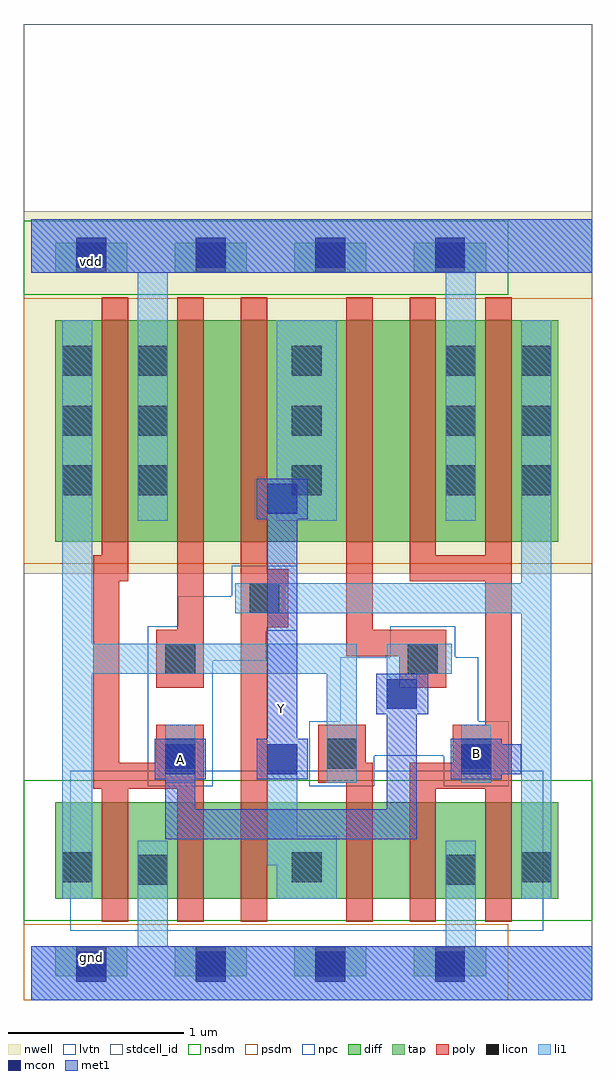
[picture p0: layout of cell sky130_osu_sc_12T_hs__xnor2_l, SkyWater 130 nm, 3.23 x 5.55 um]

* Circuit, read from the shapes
.subckt sky130_osu_sc_12T_hs__xnor2_l A B Y gnd vdd
XM1 gnd A n1 gnd sky130_fd_pr__nfet_01v8_lvt w=0.55 l=0.15
XM2 n2 A gnd gnd sky130_fd_pr__nfet_01v8_lvt w=0.55 l=0.15
XM3 Y n3 n2 gnd sky130_fd_pr__nfet_01v8_lvt w=0.55 l=0.15
XM4 n4 n1 Y gnd sky130_fd_pr__nfet_01v8_lvt w=0.55 l=0.15
XM5 gnd B n4 gnd sky130_fd_pr__nfet_01v8_lvt w=0.55 l=0.15
XM6 n3 B gnd gnd sky130_fd_pr__nfet_01v8_lvt w=0.55 l=0.15
XM7 vdd A n1 vdd sky130_fd_pr__pfet_01v8 w=1.26 l=0.15
XM8 n5 n1 vdd vdd sky130_fd_pr__pfet_01v8 w=1.26 l=0.15
XM9 Y n3 n5 vdd sky130_fd_pr__pfet_01v8 w=1.26 l=0.15
XM10 n6 A Y vdd sky130_fd_pr__pfet_01v8 w=1.26 l=0.15
XM11 vdd B n6 vdd sky130_fd_pr__pfet_01v8 w=1.26 l=0.15
XM12 n3 B vdd vdd sky130_fd_pr__pfet_01v8 w=1.26 l=0.15
.ends

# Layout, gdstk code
import gdstk
lib = gdstk.Library(unit=1e-6, precision=1e-09)
def R(c, l, rs):  # rectangles x0, y0, x1, y1
    for r in rs: c.add(gdstk.rectangle(r[:2], r[2:], *l))
def A(c, l, x, y, w, h, nx, ny, dx, dy):  # array of equal rectangles
    R(c, l, [(x+i*dx, y+j*dy, x+i*dx+w, y+j*dy+h) for i in range(nx) for j in range(ny)])
nwell = (64, 20)
diff = (65, 20)
tap = (65, 44)
poly = (66, 20)
licon = (66, 44)
li1 = (67, 20)
mcon = (67, 44)
met1 = (68, 20)
stdcell_id = (81, 4)
nsdm = (93, 44)
psdm = (94, 20)
npc = (95, 20)
lvtn = (125, 44)

sky130_osu_sc_12t_hs__xn = lib.new_cell('sky130_osu_sc_12T_hs__xnor2_l')
R(sky130_osu_sc_12t_hs__xn, nwell, [(-0.045,2.425,3.19,4.485)])
R(sky130_osu_sc_12t_hs__xn, diff, [(0.135,0.575,2.995,1.125), (0.135,2.605,2.995,3.865)])
A(sky130_osu_sc_12t_hs__xn, tap, 0.135, 0.135, 0.41, 0.17, 4, 2, 0.68, 4)
R(sky130_osu_sc_12t_hs__xn, poly, [(0.4,0.445,0.55,1.2), (0.83,0.445,0.98,1.2), (1.19,0.445,1.34,2.12), (1.79,0.445,1.94,1.235), (2.15,0.445,2.3,1.2), (2.58,0.445,2.73,1.2), (0.35,1.2,0.98,1.35), (2.15,1.2,2.73,1.35), (1.63,1.235,1.94,1.35), (0.35,1.35,0.5,2.38), (0.71,1.35,0.98,1.565), (1.63,1.35,1.9,1.565), (2.395,1.35,2.73,1.565), (2.58,1.565,2.73,2.38), (0.71,1.775,0.98,2.105), (2.09,1.775,2.36,1.955), (1.79,1.955,2.36,2.105), (0.83,2.105,0.98,3.995), (1.79,2.105,1.94,3.995), (1.19,2.12,1.46,2.45), (0.35,2.38,0.55,2.53), (2.15,2.38,2.73,2.53), (1.19,2.45,1.34,3.995), (0.4,2.53,0.55,3.995), (2.15,2.53,2.3,3.995), (2.58,2.53,2.73,3.995)])
A(sky130_osu_sc_12t_hs__xn, licon, 0.255, 0.135, 0.17, 0.17, 4, 2, 0.68, 4)
A(sky130_osu_sc_12t_hs__xn, licon, 0.175, 0.67, 0.17, 0.17, 3, 1, 1.305, 0)
A(sky130_osu_sc_12t_hs__xn, licon, 0.175, 2.87, 0.17, 0.17, 1, 3, 0, 0.34)
A(sky130_osu_sc_12t_hs__xn, licon, 0.605, 2.87, 0.17, 0.17, 3, 3, 0.875, 0.34)
A(sky130_osu_sc_12t_hs__xn, licon, 2.785, 2.87, 0.17, 0.17, 1, 3, 0, 0.34)
R(sky130_osu_sc_12t_hs__xn, licon, [(0.605,0.655,0.775,0.825), (2.355,0.655,2.525,0.825), (0.76,1.315,0.93,1.485), (1.68,1.315,1.85,1.485), (2.445,1.315,2.615,1.485), (0.76,1.855,0.93,2.025), (2.14,1.855,2.31,2.025), (1.24,2.2,1.41,2.37)])
R(sky130_osu_sc_12t_hs__xn, li1, [(0,0,3.19,0.305), (0.605,0.305,0.775,0.905), (2.355,0.305,2.525,0.905), (0.175,0.575,0.345,1.855), (1.395,0.575,1.735,0.765), (2.785,0.575,2.955,2.2), (1.34,0.765,1.735,0.935), (1.34,0.935,1.51,1.455), (0.76,1.235,0.93,1.565), (1.68,1.235,1.85,1.855), (2.445,1.235,2.615,1.565), (2.02,1.655,2.19,1.855), (0.175,1.855,1.85,2.025), (2.02,1.855,2.39,2.025), (0.175,2.025,0.345,3.865), (1.16,2.2,2.955,2.37), (2.785,2.37,2.955,3.865), (0.605,2.725,0.775,4.135), (1.395,2.725,1.735,2.765), (2.355,2.725,2.525,4.135), (1.34,2.765,1.735,2.965), (1.395,2.965,1.735,3.865), (0,4.135,3.19,4.44)])
A(sky130_osu_sc_12t_hs__xn, mcon, 0.255, 0.105, 0.17, 0.17, 4, 2, 0.68, 4.06)
R(sky130_osu_sc_12t_hs__xn, mcon, [(0.76,1.285,0.93,1.455), (1.34,1.285,1.51,1.455), (2.445,1.285,2.615,1.455), (2.02,1.655,2.19,1.825), (1.34,2.765,1.51,2.935)])
R(sky130_osu_sc_12t_hs__xn, met1, [(0,0,3.19,0.305), (0.76,0.915,2.19,1.085), (0.76,1.085,0.93,1.255), (2.02,1.085,2.19,1.625), (0.7,1.255,0.99,1.485), (1.28,1.255,1.57,1.485), (2.385,1.255,2.675,1.285), (2.385,1.285,2.785,1.455), (2.385,1.455,2.675,1.485), (1.34,1.485,1.51,2.735), (1.96,1.625,2.255,1.855), (1.28,2.735,1.57,2.965), (0,4.135,3.19,4.44)])
R(sky130_osu_sc_12t_hs__xn, stdcell_id, [(-0.045,0,3.19,5.55)])
R(sky130_osu_sc_12t_hs__xn, nsdm, [(-0.045,0.45,3.19,1.25), (-0.045,4.01,2.71,4.43)])
R(sky130_osu_sc_12t_hs__xn, psdm, [(-0.045,0,2.71,0.43), (-0.045,2.48,3.19,3.99)])
R(sky130_osu_sc_12t_hs__xn, npc, [(0.66,1.215,1.03,1.93), (1.58,1.215,1.95,1.39), (2.345,1.215,2.715,1.39), (1.58,1.39,2.715,1.585), (1.755,1.585,2.54,1.95), (0.66,1.93,1.335,2.1), (2.04,1.95,2.41,2.125), (0.66,2.1,1.51,2.125), (0.835,2.125,1.51,2.295), (1.14,2.295,1.51,2.47)])
R(sky130_osu_sc_12t_hs__xn, lvtn, [(0.22,0.395,2.91,1.305)])
sky130_osu_sc_12t_hs__xn.add(gdstk.Label('gnd', (0.34,0.24), layer=68, texttype=16))
sky130_osu_sc_12t_hs__xn.add(gdstk.Label('vdd', (0.34,4.2), layer=68, texttype=16))
sky130_osu_sc_12t_hs__xn.add(gdstk.Label('Y', (1.42,1.655), layer=68, texttype=5))
sky130_osu_sc_12t_hs__xn.add(gdstk.Label('A', (0.845,1.37), layer=68, texttype=5))
sky130_osu_sc_12t_hs__xn.add(gdstk.Label('B', (2.53,1.4), layer=68, texttype=5))

lib.write_gds('sky130_osu_sc_12T_hs__xnor2_l.gds')
